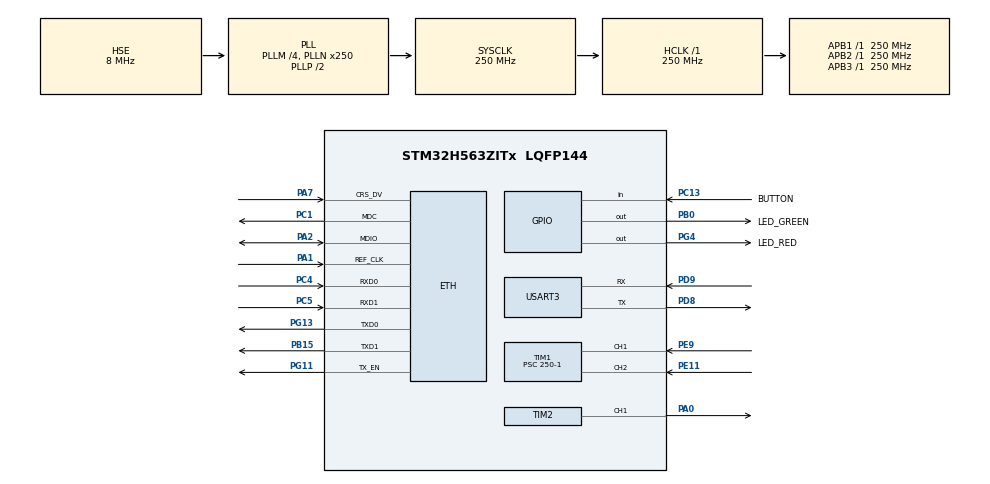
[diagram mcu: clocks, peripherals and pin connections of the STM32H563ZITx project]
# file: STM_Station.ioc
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BOOTPATH.BootPathName=LEGACY
BOOTPATH.UserSelectedBootPath=LEGACY
CORTEX_M33_NS.userName=CORTEX_M33
ETH.MediaInterface=HAL_ETH_RMII_MODE
GPDMA1.DESTDATAWIDTH_GPDMACH1=DMA_DEST_DATAWIDTH_WORD
GPDMA1.DESTDATAWIDTH_GPDMACH2=DMA_DEST_DATAWIDTH_WORD
GPDMA1.DESTINC_GPDMACH1=DMA_DINC_INCREMENTED
GPDMA1.DESTINC_GPDMACH2=DMA_DINC_INCREMENTED
GPDMA1.IPHANDLE_GPDMACH1-SIMPLEREQUEST_GPDMACH1=__NULL
GPDMA1.IPHANDLE_GPDMACH2-SIMPLEREQUEST_GPDMACH2=__NULL
GPDMA1.REQUEST_GPDMACH1=GPDMA1_REQUEST_TIM1_CH1
GPDMA1.REQUEST_GPDMACH2=GPDMA1_REQUEST_TIM1_CH2
GPDMA1.SRCDATAWIDTH_GPDMACH1=DMA_SRC_DATAWIDTH_HALFWORD
GPDMA1.SRCDATAWIDTH_GPDMACH2=DMA_SRC_DATAWIDTH_HALFWORD
GPDMA1.TRANSFERALLOCATEDPORTDEST_GPDMACH1=DMA_DEST_ALLOCATED_PORT1
GPDMA1.TRANSFERALLOCATEDPORTDEST_GPDMACH2=DMA_DEST_ALLOCATED_PORT1
GPDMA1.TRANSFERALLOCATEDPORTSRC_GPDMACH1=DMA_SRC_ALLOCATED_PORT1
GPDMA1.TRANSFERALLOCATEDPORTSRC_GPDMACH2=DMA_SRC_ALLOCATED_PORT1
Mcu.Family=STM32H5
Mcu.Name=STM32H563ZITx
Mcu.Package=LQFP144
NETXDUO.ETH_ON=1
NETXDUO.LAN_8742=1
NETXDUO.NX_APP_IP_INSTANCE_THREAD_SIZE=2 * 1024
NETXDUO.NX_APP_MEM_POOL_SIZE=30 * 1024
NETXDUO.NX_APP_PACKET_POOL_SIZE=10
NETXDUO.NX_APP_THREAD_STACK_SIZE=2 * 1024
NETXDUO.NX_ENABLE_INTERFACE_CAPABILITY=true
NETXDUO.NetXDuo_Generate_Init_Code=true
NVIC.ETH_IRQn=true\:7\:0\:true\:false\:true\:false\:true\:true\:true
NVIC.GPDMA1_Channel1_IRQn=true\:0\:0\:false\:false\:true\:true\:false\:true\:true
NVIC.GPDMA1_Channel2_IRQn=true\:0\:0\:false\:false\:true\:true\:false\:true\:true
NVIC.PriorityGroup=NVIC_PRIORITYGROUP_4
NVIC.TIM17_IRQn=true\:0\:0\:false\:false\:true\:false\:true\:true\:true
NVIC.TIM2_IRQn=true\:0\:0\:false\:false\:true\:false\:true\:true\:true
NVIC.TIM6_IRQn=true\:15\:0\:false\:false\:true\:false\:false\:true\:true
NVIC.TimeBase=TIM6_IRQn
NVIC.TimeBaseIP=TIM6
NetXDuo.BSP.number=1
NetXDuo0.BSP.STBoard=false
NetXDuo0.BSP.api=BSP_COMPONENT_DRIVER
NetXDuo0.BSP.component=lan8742
NetXDuo0.BSP.instance=lan8742
NetXDuo0.BSP.name=LAN_Component
NetXDuo0.BSP.semaphore=SEMA_lan8742
NetXDuo0.BSP.solution=lan8742
PA0.Signal=S_TIM2_CH1
PA1.Mode=RMII
PA1.Signal=ETH_REF_CLK
PA2.Mode=RMII
PA2.Signal=ETH_MDIO
PA7.Mode=RMII
PA7.Signal=ETH_CRS_DV
PB0.GPIO_Label=LED_GREEN
PB0.Signal=GPIO_Output
PB15.Mode=RMII
PB15.Signal=ETH_TXD1
PC1.Mode=RMII
PC1.Signal=ETH_MDC
PC13.GPIO_Label=BUTTON
PC13.Signal=GPIO_Input
PC4.Mode=RMII
PC4.Signal=ETH_RXD0
PC5.Mode=RMII
PC5.Signal=ETH_RXD1
PD8.Mode=Asynchronous
PD8.Signal=USART3_TX
PD9.Mode=Asynchronous
PD9.Signal=USART3_RX
PE11.Signal=S_TIM1_CH2
PE9.Signal=S_TIM1_CH1
PG11.Mode=RMII
PG11.Signal=ETH_TX_EN
PG13.Mode=RMII
PG13.Signal=ETH_TXD0
PG4.GPIO_Label=LED_RED
PG4.Signal=GPIO_Output
PH0-OSC_IN(PH0).Mode=HSE-DIG-External-Clock-Source
PH0-OSC_IN(PH0).Signal=RCC_OSC_IN
ProjectManager.HeapSize=0x200
ProjectManager.StackSize=0x400
ProjectManager.TargetToolchain=STM32CubeIDE
RCC.ADCFreq_Value=250000000
RCC.AHBFreq_Value=250000000
RCC.APB1Freq_Value=250000000
RCC.APB1TimFreq_Value=250000000
RCC.APB2Freq_Value=250000000
RCC.APB2TimFreq_Value=250000000
RCC.APB3Freq_Value=250000000
RCC.CSI_VALUE=4000000
RCC.CortexFreq_Value=250000000
RCC.EPOD_VALUE=8000000
RCC.HCLKFreq_Value=250000000
RCC.HSE_VALUE=8000000
RCC.HSI48_VALUE=48000000
RCC.HSIDiv=RCC_HSI_DIV1
RCC.HSI_VALUE=64000000
RCC.LSE_VALUE=32768
RCC.LSIRC_VALUE=32000
RCC.PLLFRACN=0
RCC.PLLM=4
RCC.PLLN=250
RCC.PLLSourceVirtual=RCC_PLL1_SOURCE_HSE
RCC.SYSCLKFreq_VALUE=250000000
RCC.SYSCLKSource=RCC_SYSCLKSOURCE_PLLCLK
RCC.USBFreq_Value=48000000
RCC.VCOOutputFreq_Value=500000000
SH.S_TIM1_CH1.0=TIM1_CH1,Input_Capture1_from_TI1
SH.S_TIM1_CH2.0=TIM1_CH2,Input_Capture2_from_TI2
SH.S_TIM2_CH1.0=TIM2_CH1,PWM Generation1 CH1
TIM1.Channel-Input_Capture1_from_TI1=TIM_CHANNEL_1
TIM1.Channel-Input_Capture2_from_TI2=TIM_CHANNEL_2
TIM1.ICFilter_CH1=7
TIM1.ICFilter_CH2=7
TIM1.ICPolarity_CH1=TIM_INPUTCHANNELPOLARITY_FALLING
TIM1.ICPolarity_CH2=TIM_INPUTCHANNELPOLARITY_FALLING
TIM1.Prescaler=250-1
TIM17.AutoReloadPreload=TIM_AUTORELOAD_PRELOAD_DISABLE
TIM17.Prescaler=250-1
TIM2.Channel-PWM\ Generation1\ CH1=TIM_CHANNEL_1
TIM2.OCPolarity_1=TIM_OCPOLARITY_LOW
TIM2.PeriodNoDither=18-1
TIM2.Prescaler=365-1
TIM2.PulseNoDither_1=0
USART3.VirtualMode=VM_ASYNC
VP_BOOTPATH_VS_BOOTPATH.Mode=BP_Activate
VP_CORTEX_M33_NS_VS_Hclk.Mode=Hclk_Mode
VP_GPDMA1_VS_GPDMACH1.Mode=SIMPLEREQUEST_GPDMACH1
VP_GPDMA1_VS_GPDMACH2.Mode=SIMPLEREQUEST_GPDMACH2
VP_ICACHE_VS_ICACHE.Mode=DefaultMode
VP_MEMORYMAP_VS_MEMORYMAP.Mode=CurAppReg
VP_NETXDUO_VS_AddonsOoDHCP.Mode=Addons_DHCP_Client
VP_NETXDUO_VS_EthernetOoPhyOoInterface.Mode=LAN8742_Phy_Interface
VP_NETXDUO_VS_NXOoCore.Mode=NX_Core
VP_NETXDUO_VS_NetworkOoInterface.Mode=Ethernet_Interface
VP_PWR_VS_DBSignals.Mode=DisableDeadBatterySignals
VP_PWR_VS_LPOM.Mode=PowerOptimisation
VP_PWR_VS_SECSignals.Mode=Security/Privilege
VP_SYS_VS_tim6.Mode=TIM6
VP_THREADX_VS_RTOSJjThreadXJjCoreJjDefault.Mode=Core_Default
VP_TIM17_VS_ClockSourceINT.Mode=Enable_Timer
VP_TIM1_VS_ClockSourceINT.Mode=Internal
VP_TIM2_VS_ClockSourceINT.Mode=Internal
board=custom

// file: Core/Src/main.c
/* USER CODE BEGIN Header */
/**
  ******************************************************************************
  * @file           : main.c
  * @brief          : Main program body
  ******************************************************************************
  * @attention
  *
  * Copyright (c) 2023 STMicroelectronics.
  * All rights reserved.
  *
  * This software is licensed under terms that can be found in the LICENSE file
  * in the root directory of this software component.
  * If no LICENSE file comes with this software, it is provided AS-IS.
  *
  ******************************************************************************
  */
/* USER CODE END Header */
#include "app_threadx.h"
#include "main.h"
#include "string.h"

/* USER CODE BEGIN Includes */
#include "stdio.h"
#include "app_netxduo.h"

/* USER CODE END Includes */

/* USER CODE BEGIN PTD */
#if defined(__ICCARM__)
size_t __write(int file, unsigned char const *ptr, size_t len);
/* New definition from EWARM V9, compatible with EWARM8 */
int iar_fputc(int ch);
#define PUTCHAR_PROTOTYPE int iar_fputc(int ch)
#elif defined ( __CC_ARM ) || defined(__ARMCC_VERSION)
/* ARM Compiler 5/6*/
#define PUTCHAR_PROTOTYPE int fputc(int ch, FILE *f)
#elif defined(__GNUC__)
#define PUTCHAR_PROTOTYPE int __io_putchar(int ch)
#endif /* __ICCARM__ */

/* USER CODE END PTD */

ETH_TxPacketConfigTypeDef TxConfig;
ETH_DMADescTypeDef  DMARxDscrTab[ETH_RX_DESC_CNT]; /* Ethernet Rx DMA Descriptors */
ETH_DMADescTypeDef  DMATxDscrTab[ETH_TX_DESC_CNT]; /* Ethernet Tx DMA Descriptors */

ETH_HandleTypeDef heth;

TIM_HandleTypeDef htim1;
TIM_HandleTypeDef htim2;
TIM_HandleTypeDef htim17;
DMA_HandleTypeDef handle_GPDMA1_Channel2;
DMA_HandleTypeDef handle_GPDMA1_Channel1;

UART_HandleTypeDef huart3;

void SystemClock_Config(void);
static void MX_GPIO_Init(void);
static void MX_GPDMA1_Init(void);
static void MX_ETH_Init(void);
static void MX_ICACHE_Init(void);
static void MX_USART3_UART_Init(void);
static void MX_TIM17_Init(void);
static void MX_TIM2_Init(void);
static void MX_TIM1_Init(void);

/* USER CODE BEGIN 0 */
void Success_Handler(void)
{
  HAL_GPIO_WritePin (LED_RED_GPIO_Port, LED_RED_Pin, GPIO_PIN_RESET);
  while(1)
  {
    HAL_GPIO_TogglePin(LED_GREEN_GPIO_Port, LED_GREEN_Pin);
    tx_thread_sleep(50);
  }
}

/* USER CODE END 0 */

int main(void)
{

  /* MCU Configuration--------------------------------------------------------*/

  /* Reset of all peripherals, Initializes the Flash interface and the Systick. */
  HAL_Init();

  /* Configure the system clock */
  SystemClock_Config();

  /* Initialize all configured peripherals */
  MX_GPIO_Init();
  MX_GPDMA1_Init();
  MX_ETH_Init();
  MX_ICACHE_Init();
  MX_USART3_UART_Init();
  MX_TIM17_Init();
  MX_TIM2_Init();
  MX_TIM1_Init();
  /* USER CODE BEGIN 2 */

  __HAL_DBGMCU_FREEZE_TIM1();
  // clear terminal screen for coolterm
  printf("\e[1;1H\e[2J");fflush(stdout);

  printf("\r\n STM Station module running..\n ");

  /* USER CODE END 2 */

  MX_ThreadX_Init();

  /* We should never get here as control is now taken by the scheduler */

  /* Infinite loop */
  /* USER CODE BEGIN WHILE */
  while (1)
  {

    HAL_GPIO_TogglePin(LED_GREEN_GPIO_Port, LED_GREEN_Pin);
    HAL_Delay(1000);
    /* USER CODE END WHILE */

  }
}

void SystemClock_Config(void)
{
  RCC_OscInitTypeDef RCC_OscInitStruct = {0};
  RCC_ClkInitTypeDef RCC_ClkInitStruct = {0};

  /** Configure the main internal regulator output voltage
  */
  __HAL_PWR_VOLTAGESCALING_CONFIG(PWR_REGULATOR_VOLTAGE_SCALE0);

  while(!__HAL_PWR_GET_FLAG(PWR_FLAG_VOSRDY)) {}

  /** Initializes the RCC Oscillators according to the specified parameters
  * in the RCC_OscInitTypeDef structure.
  */
  RCC_OscInitStruct.OscillatorType = RCC_OSCILLATORTYPE_HSE;
  RCC_OscInitStruct.HSEState = RCC_HSE_BYPASS_DIGITAL;
  RCC_OscInitStruct.PLL.PLLState = RCC_PLL_ON;
  RCC_OscInitStruct.PLL.PLLSource = RCC_PLL1_SOURCE_HSE;
  RCC_OscInitStruct.PLL.PLLM = 4;
  RCC_OscInitStruct.PLL.PLLN = 250;
  RCC_OscInitStruct.PLL.PLLP = 2;
  RCC_OscInitStruct.PLL.PLLQ = 2;
  RCC_OscInitStruct.PLL.PLLR = 2;
  RCC_OscInitStruct.PLL.PLLRGE = RCC_PLL1_VCIRANGE_1;
  RCC_OscInitStruct.PLL.PLLVCOSEL = RCC_PLL1_VCORANGE_WIDE;
  RCC_OscInitStruct.PLL.PLLFRACN = 0;
  if (HAL_RCC_OscConfig(&RCC_OscInitStruct) != HAL_OK)
  {
    Error_Handler();
  }

  /** Initializes the CPU, AHB and APB buses clocks
  */
  RCC_ClkInitStruct.ClockType = RCC_CLOCKTYPE_HCLK|RCC_CLOCKTYPE_SYSCLK
                              |RCC_CLOCKTYPE_PCLK1|RCC_CLOCKTYPE_PCLK2
                              |RCC_CLOCKTYPE_PCLK3;
  RCC_ClkInitStruct.SYSCLKSource = RCC_SYSCLKSOURCE_PLLCLK;
  RCC_ClkInitStruct.AHBCLKDivider = RCC_SYSCLK_DIV1;
  RCC_ClkInitStruct.APB1CLKDivider = RCC_HCLK_DIV1;
  RCC_ClkInitStruct.APB2CLKDivider = RCC_HCLK_DIV1;
  RCC_ClkInitStruct.APB3CLKDivider = RCC_HCLK_DIV1;

  if (HAL_RCC_ClockConfig(&RCC_ClkInitStruct, FLASH_LATENCY_5) != HAL_OK)
  {
    Error_Handler();
  }
}

static void MX_ETH_Init(void)
{

   static uint8_t MACAddr[6];

  heth.Instance = ETH;
  MACAddr[0] = 0x00;
  MACAddr[1] = 0x80;
  MACAddr[2] = 0xE1;
  MACAddr[3] = 0x00;
  MACAddr[4] = 0x00;
  MACAddr[5] = MAC_ADDRESS; //0x41;
  heth.Init.MACAddr = &MACAddr[0];
  heth.Init.MediaInterface = HAL_ETH_RMII_MODE;
  heth.Init.TxDesc = DMATxDscrTab;
  heth.Init.RxDesc = DMARxDscrTab;
  heth.Init.RxBuffLen = 1524;

  if (HAL_ETH_Init(&heth) != HAL_OK)
  {
    Error_Handler();
  }

  memset(&TxConfig, 0 , sizeof(ETH_TxPacketConfigTypeDef));
  TxConfig.Attributes = ETH_TX_PACKETS_FEATURES_CSUM | ETH_TX_PACKETS_FEATURES_CRCPAD;
  TxConfig.ChecksumCtrl = ETH_CHECKSUM_IPHDR_PAYLOAD_INSERT_PHDR_CALC;
  TxConfig.CRCPadCtrl = ETH_CRC_PAD_INSERT;

}

static void MX_GPDMA1_Init(void)
{

  /* Peripheral clock enable */
  __HAL_RCC_GPDMA1_CLK_ENABLE();

  /* GPDMA1 interrupt Init */
    HAL_NVIC_SetPriority(GPDMA1_Channel1_IRQn, 0, 0);
    HAL_NVIC_EnableIRQ(GPDMA1_Channel1_IRQn);
    HAL_NVIC_SetPriority(GPDMA1_Channel2_IRQn, 0, 0);
    HAL_NVIC_EnableIRQ(GPDMA1_Channel2_IRQn);

}

static void MX_ICACHE_Init(void)
{

  /** Enable instruction cache (default 2-ways set associative cache)
  */
  if (HAL_ICACHE_Enable() != HAL_OK)
  {
    Error_Handler();
  }

}

static void MX_TIM1_Init(void)
{

  TIM_ClockConfigTypeDef sClockSourceConfig = {0};
  TIM_MasterConfigTypeDef sMasterConfig = {0};
  TIM_IC_InitTypeDef sConfigIC = {0};

  htim1.Instance = TIM1;
  htim1.Init.Prescaler = 250-1;
  htim1.Init.CounterMode = TIM_COUNTERMODE_UP;
  htim1.Init.Period = 65535;
  htim1.Init.ClockDivision = TIM_CLOCKDIVISION_DIV1;
  htim1.Init.RepetitionCounter = 0;
  htim1.Init.AutoReloadPreload = TIM_AUTORELOAD_PRELOAD_DISABLE;
  if (HAL_TIM_Base_Init(&htim1) != HAL_OK)
  {
    Error_Handler();
  }
  sClockSourceConfig.ClockSource = TIM_CLOCKSOURCE_INTERNAL;
  if (HAL_TIM_ConfigClockSource(&htim1, &sClockSourceConfig) != HAL_OK)
  {
    Error_Handler();
  }
  if (HAL_TIM_IC_Init(&htim1) != HAL_OK)
  {
    Error_Handler();
  }
  sMasterConfig.MasterOutputTrigger = TIM_TRGO_RESET;
  sMasterConfig.MasterOutputTrigger2 = TIM_TRGO2_RESET;
  sMasterConfig.MasterSlaveMode = TIM_MASTERSLAVEMODE_DISABLE;
  if (HAL_TIMEx_MasterConfigSynchronization(&htim1, &sMasterConfig) != HAL_OK)
  {
    Error_Handler();
  }
  sConfigIC.ICPolarity = TIM_INPUTCHANNELPOLARITY_FALLING;
  sConfigIC.ICSelection = TIM_ICSELECTION_DIRECTTI;
  sConfigIC.ICPrescaler = TIM_ICPSC_DIV1;
  sConfigIC.ICFilter = 7;
  if (HAL_TIM_IC_ConfigChannel(&htim1, &sConfigIC, TIM_CHANNEL_1) != HAL_OK)
  {
    Error_Handler();
  }
  if (HAL_TIM_IC_ConfigChannel(&htim1, &sConfigIC, TIM_CHANNEL_2) != HAL_OK)
  {
    Error_Handler();
  }

}

static void MX_TIM2_Init(void)
{

  TIM_ClockConfigTypeDef sClockSourceConfig = {0};
  TIM_MasterConfigTypeDef sMasterConfig = {0};
  TIM_OC_InitTypeDef sConfigOC = {0};

  htim2.Instance = TIM2;
  htim2.Init.Prescaler = 365-1;
  htim2.Init.CounterMode = TIM_COUNTERMODE_UP;
  htim2.Init.Period = 17;
  htim2.Init.ClockDivision = TIM_CLOCKDIVISION_DIV1;
  htim2.Init.AutoReloadPreload = TIM_AUTORELOAD_PRELOAD_DISABLE;
  if (HAL_TIM_Base_Init(&htim2) != HAL_OK)
  {
    Error_Handler();
  }
  sClockSourceConfig.ClockSource = TIM_CLOCKSOURCE_INTERNAL;
  if (HAL_TIM_ConfigClockSource(&htim2, &sClockSourceConfig) != HAL_OK)
  {
    Error_Handler();
  }
  if (HAL_TIM_PWM_Init(&htim2) != HAL_OK)
  {
    Error_Handler();
  }
  sMasterConfig.MasterOutputTrigger = TIM_TRGO_RESET;
  sMasterConfig.MasterSlaveMode = TIM_MASTERSLAVEMODE_DISABLE;
  if (HAL_TIMEx_MasterConfigSynchronization(&htim2, &sMasterConfig) != HAL_OK)
  {
    Error_Handler();
  }
  sConfigOC.OCMode = TIM_OCMODE_PWM1;
  sConfigOC.Pulse = 0;
  sConfigOC.OCPolarity = TIM_OCPOLARITY_LOW;
  sConfigOC.OCFastMode = TIM_OCFAST_DISABLE;
  if (HAL_TIM_PWM_ConfigChannel(&htim2, &sConfigOC, TIM_CHANNEL_1) != HAL_OK)
  {
    Error_Handler();
  }
  HAL_TIM_MspPostInit(&htim2);

}

static void MX_TIM17_Init(void)
{

  htim17.Instance = TIM17;
  htim17.Init.Prescaler = 250-1;
  htim17.Init.CounterMode = TIM_COUNTERMODE_UP;
  htim17.Init.Period = 65535;
  htim17.Init.ClockDivision = TIM_CLOCKDIVISION_DIV1;
  htim17.Init.RepetitionCounter = 0;
  htim17.Init.AutoReloadPreload = TIM_AUTORELOAD_PRELOAD_DISABLE;
  if (HAL_TIM_Base_Init(&htim17) != HAL_OK)
  {
    Error_Handler();
  }

}

static void MX_USART3_UART_Init(void)
{

  huart3.Instance = USART3;
  huart3.Init.BaudRate = 115200;
  huart3.Init.WordLength = UART_WORDLENGTH_8B;
  huart3.Init.StopBits = UART_STOPBITS_1;
  huart3.Init.Parity = UART_PARITY_NONE;
  huart3.Init.Mode = UART_MODE_TX_RX;
  huart3.Init.HwFlowCtl = UART_HWCONTROL_NONE;
  huart3.Init.OverSampling = UART_OVERSAMPLING_16;
  huart3.Init.OneBitSampling = UART_ONE_BIT_SAMPLE_DISABLE;
  huart3.Init.ClockPrescaler = UART_PRESCALER_DIV1;
  huart3.AdvancedInit.AdvFeatureInit = UART_ADVFEATURE_NO_INIT;
  if (HAL_UART_Init(&huart3) != HAL_OK)
  {
    Error_Handler();
  }
  if (HAL_UARTEx_SetTxFifoThreshold(&huart3, UART_TXFIFO_THRESHOLD_1_8) != HAL_OK)
  {
    Error_Handler();
  }
  if (HAL_UARTEx_SetRxFifoThreshold(&huart3, UART_RXFIFO_THRESHOLD_1_8) != HAL_OK)
  {
    Error_Handler();
  }
  if (HAL_UARTEx_DisableFifoMode(&huart3) != HAL_OK)
  {
    Error_Handler();
  }

}

static void MX_GPIO_Init(void)
{
  GPIO_InitTypeDef GPIO_InitStruct = {0};

  /* GPIO Ports Clock Enable */
  __HAL_RCC_GPIOC_CLK_ENABLE();
  __HAL_RCC_GPIOH_CLK_ENABLE();
  __HAL_RCC_GPIOA_CLK_ENABLE();
  __HAL_RCC_GPIOB_CLK_ENABLE();
  __HAL_RCC_GPIOE_CLK_ENABLE();
  __HAL_RCC_GPIOD_CLK_ENABLE();
  __HAL_RCC_GPIOG_CLK_ENABLE();

  /*Configure GPIO pin Output Level */
  HAL_GPIO_WritePin(LED_GREEN_GPIO_Port, LED_GREEN_Pin, GPIO_PIN_RESET);

  /*Configure GPIO pin Output Level */
  HAL_GPIO_WritePin(LED_RED_GPIO_Port, LED_RED_Pin, GPIO_PIN_RESET);

  /*Configure GPIO pin : BUTTON_Pin */
  GPIO_InitStruct.Pin = BUTTON_Pin;
  GPIO_InitStruct.Mode = GPIO_MODE_INPUT;
  GPIO_InitStruct.Pull = GPIO_NOPULL;
  HAL_GPIO_Init(BUTTON_GPIO_Port, &GPIO_InitStruct);

  /*Configure GPIO pin : LED_GREEN_Pin */
  GPIO_InitStruct.Pin = LED_GREEN_Pin;
  GPIO_InitStruct.Mode = GPIO_MODE_OUTPUT_PP;
  GPIO_InitStruct.Pull = GPIO_NOPULL;
  GPIO_InitStruct.Speed = GPIO_SPEED_FREQ_LOW;
  HAL_GPIO_Init(LED_GREEN_GPIO_Port, &GPIO_InitStruct);

  /*Configure GPIO pin : LED_RED_Pin */
  GPIO_InitStruct.Pin = LED_RED_Pin;
  GPIO_InitStruct.Mode = GPIO_MODE_OUTPUT_PP;
  GPIO_InitStruct.Pull = GPIO_NOPULL;
  GPIO_InitStruct.Speed = GPIO_SPEED_FREQ_LOW;
  HAL_GPIO_Init(LED_RED_GPIO_Port, &GPIO_InitStruct);

}

/* USER CODE BEGIN 4 */
#if defined(__ICCARM__)
size_t __write(int file, unsigned char const *ptr, size_t len)
{
  size_t idx;
  unsigned char const *pdata = ptr;

  for (idx = 0; idx < len; idx++)
  {
    iar_fputc((int)*pdata);
    pdata++;
  }
  return len;
}
#endif /* __ICCARM__ */
/**
  * @brief  Retargets the C library printf function to the USART.
  * @param  None
  * @retval None
  */

PUTCHAR_PROTOTYPE
{
  /* Place your implementation of putchar here */
  /* e.g. write a character to the USART3 and Loop until the end of transmission */
  HAL_UART_Transmit(&huart3, (uint8_t *)&ch, 1, 0xFFFF);
  return ch;
}

/* USER CODE END 4 */

void HAL_TIM_PeriodElapsedCallback(TIM_HandleTypeDef *htim)
{
  if (htim->Instance == TIM6) {
    HAL_IncTick();
  }
  /* USER CODE BEGIN Callback 1 */
  if(htim->Instance == TIM2) {
	  __HAL_TIM_CLEAR_IT(&htim2,TIM_IT_CC1);										// Clear flag
	  __HAL_TIM_ENABLE_IT(&htim2,TIM_IT_CC1);
  }

 if(htim->Instance == TIM17) {
    NEC_TX_SendMarkSpace();
  }

  /* USER CODE END Callback 1 */
}

void Error_Handler(void)
{
  /* USER CODE BEGIN Error_Handler_Debug */
  /* User can add his own implementation to report the HAL error return state */
  HAL_GPIO_WritePin (LED_GREEN_GPIO_Port, LED_GREEN_Pin, GPIO_PIN_RESET);
  while (1)
  {
    HAL_GPIO_TogglePin(LED_RED_GPIO_Port,LED_RED_Pin);
    HAL_Delay(1000);
  }
  /* USER CODE END Error_Handler_Debug */
}
